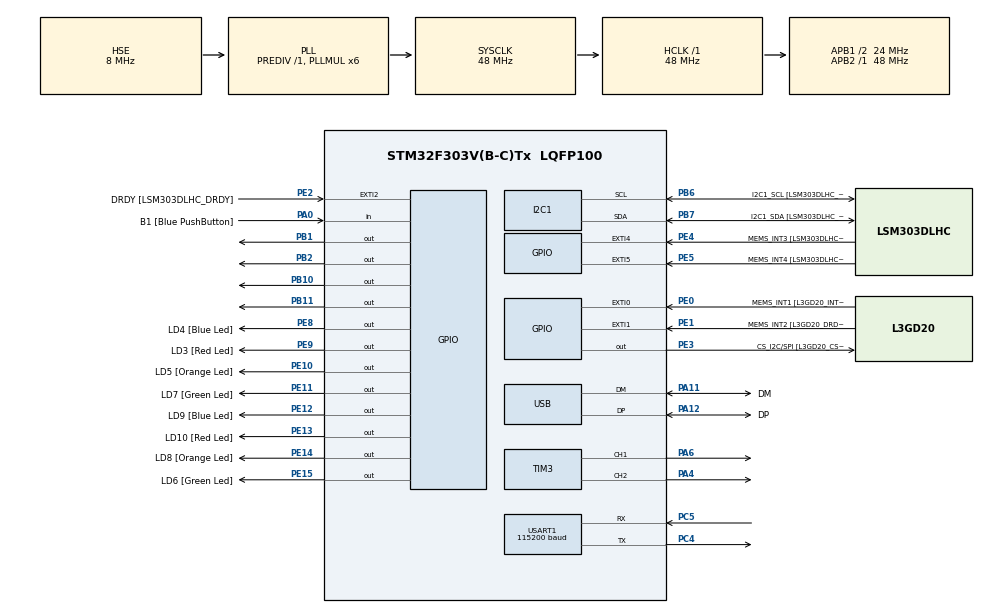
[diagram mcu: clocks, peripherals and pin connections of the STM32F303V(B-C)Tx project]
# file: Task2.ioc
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I2C1.Timing=0x2000090E
I2C1.Timing-I2C=0x2000090E
Mcu.Family=STM32F3
Mcu.Name=STM32F303V(B-C)Tx
Mcu.Package=LQFP100
NVIC.PriorityGroup=NVIC_PRIORITYGROUP_0
PA0.GPIO_Label=B1 [Blue PushButton]
PA0.Signal=GPIO_Input
PA11.GPIO_Label=DM
PA11.Mode=Device
PA11.Signal=USB_DM
PA12.GPIO_Label=DP
PA12.Mode=Device
PA12.Signal=USB_DP
PA13.GPIO_Label=SWDIO
PA13.Mode=Serial_Wire
PA13.Signal=SYS_JTMS-SWDIO
PA14.GPIO_Label=SWCLK
PA14.Mode=Serial_Wire
PA14.Signal=SYS_JTCK-SWCLK
PA4.Signal=S_TIM3_CH2
PA5.GPIO_Label=SPI1_SCK [L3GD20_SCL/SPC]
PA5.Signal=SPI1_SCK
PA6.Signal=S_TIM3_CH1
PA7.GPIO_Label=SPI1_MISO [L3GD20_SDA/SDI/SDO]
PA7.Signal=SPI1_MOSI
PB1.Signal=GPIO_Output
PB10.Signal=GPIO_Output
PB11.Signal=GPIO_Output
PB2.Signal=GPIO_Output
PB3.GPIO_Label=SWO
PB3.Signal=SYS_JTDO-TRACESWO
PB6.GPIO_Label=I2C1_SCL [LSM303DLHC_SCL]
PB6.GPIO_Pu=GPIO_PULLUP
PB6.Mode=I2C
PB6.Signal=I2C1_SCL
PB7.GPIO_Label=I2C1_SDA [LSM303DLHC_SDA]
PB7.GPIO_Pu=GPIO_PULLUP
PB7.Mode=I2C
PB7.Signal=I2C1_SDA
PC14-OSC32_IN.GPIO_Label=OSC32_IN
PC14-OSC32_IN.Signal=RCC_OSC32_IN
PC15-OSC32_OUT.GPIO_Label=OSC32_OUT
PC15-OSC32_OUT.Signal=RCC_OSC32_OUT
PC4.Mode=Asynchronous
PC4.Signal=USART1_TX
PC5.Mode=Asynchronous
PC5.Signal=USART1_RX
PE0.GPIO_Label=MEMS_INT1 [L3GD20_INT1]
PE0.GPIO_ModeDefaultEXTI=GPIO_MODE_EVT_RISING
PE0.Signal=GPXTI0
PE1.GPIO_Label=MEMS_INT2 [L3GD20_DRDY/INT2]
PE1.GPIO_ModeDefaultEXTI=GPIO_MODE_EVT_RISING
PE1.Signal=GPXTI1
PE10.GPIO_Label=LD5 [Orange Led]
PE10.Signal=GPIO_Output
PE11.GPIO_Label=LD7 [Green Led]
PE11.Signal=GPIO_Output
PE12.GPIO_Label=LD9 [Blue Led]
PE12.Signal=GPIO_Output
PE13.GPIO_Label=LD10 [Red Led]
PE13.Signal=GPIO_Output
PE14.GPIO_Label=LD8 [Orange Led]
PE14.Signal=GPIO_Output
PE15.GPIO_Label=LD6 [Green Led]
PE15.Signal=GPIO_Output
PE2.GPIO_Label=DRDY [LSM303DLHC_DRDY]
PE2.GPIO_ModeDefaultEXTI=GPIO_MODE_EVT_RISING
PE2.Signal=GPXTI2
PE3.GPIO_Label=CS_I2C/SPI [L3GD20_CS_I2C/SPI]
PE3.Signal=GPIO_Output
PE4.GPIO_Label=MEMS_INT3 [LSM303DLHC_INT1]
PE4.GPIO_ModeDefaultEXTI=GPIO_MODE_EVT_RISING
PE4.Signal=GPXTI4
PE5.GPIO_Label=MEMS_INT4 [LSM303DLHC_INT2]
PE5.GPIO_ModeDefaultEXTI=GPIO_MODE_EVT_RISING
PE5.Signal=GPXTI5
PE8.GPIO_Label=LD4 [Blue Led]
PE8.Signal=GPIO_Output
PE9.GPIO_Label=LD3 [Red Led]
PE9.Signal=GPIO_Output
PF0-OSC_IN.GPIO_Label=OSC_IN
PF0-OSC_IN.Mode=HSE-External-Clock-Source
PF0-OSC_IN.Signal=RCC_OSC_IN
PF1-OSC_OUT.GPIO_Label=OSC_OUT
PF1-OSC_OUT.Signal=RCC_OSC_OUT
ProjectManager.HeapSize=0x200
ProjectManager.StackSize=0x400
ProjectManager.TargetToolchain=CMake
RCC.AHBFreq_Value=48000000
RCC.APB1CLKDivider=RCC_HCLK_DIV2
RCC.APB1Freq_Value=24000000
RCC.APB1TimFreq_Value=48000000
RCC.APB2Freq_Value=48000000
RCC.APB2TimFreq_Value=48000000
RCC.CortexFreq_Value=48000000
RCC.HCLKFreq_Value=48000000
RCC.HSE_VALUE=8000000
RCC.HSI_VALUE=8000000
RCC.LSE_VALUE=32768
RCC.PLLMUL=RCC_PLL_MUL6
RCC.SYSCLKFreq_VALUE=48000000
RCC.SYSCLKSourceVirtual=RCC_SYSCLKSOURCE_PLLCLK
RCC.USBFreq_Value=48000000
SH.S_TIM3_CH1.0=TIM3_CH1,PWM Generation1 CH1
SH.S_TIM3_CH2.0=TIM3_CH2,PWM Generation2 CH2
TIM3.Channel-PWM\ Generation1\ CH1=TIM_CHANNEL_1
TIM3.Channel-PWM\ Generation2\ CH2=TIM_CHANNEL_2
USART1.BaudRate=115200
USART1.VirtualMode-Asynchronous=VM_ASYNC
board=STM32F3DISCOVERY

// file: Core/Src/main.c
/* USER CODE BEGIN Header */
/**
  ******************************************************************************
  * @file           : main.c
  * @brief          : Main program body
  ******************************************************************************
  * @attention
  *
  * Copyright (c) 2026 STMicroelectronics.
  * All rights reserved.
  *
  * This software is licensed under terms that can be found in the LICENSE file
  * in the root directory of this software component.
  * If no LICENSE file comes with this software, it is provided AS-IS.
  *
  ******************************************************************************
  */
/* USER CODE END Header */
#include "main.h"

/* USER CODE BEGIN PD */
#define RIGHT_MOTOR_D8_PORT   GPIOB
#define RIGHT_MOTOR_D8_PIN    GPIO_PIN_2
#define RIGHT_MOTOR_D12_PORT  GPIOB
#define RIGHT_MOTOR_D12_PIN   GPIO_PIN_1
// D10 (PA6) is TIM3_CH1 for Right Motor PWM

#define LEFT_MOTOR_D7_PORT    GPIOB
#define LEFT_MOTOR_D7_PIN     GPIO_PIN_10
#define LEFT_MOTOR_D6_PORT    GPIOB
#define LEFT_MOTOR_D6_PIN     GPIO_PIN_11
// D9 (PA4) is TIM3_CH2 for Left Motor PWM

#define MOTOR_FORWARD   0
#define MOTOR_BACKWARD  1
#define MOTOR_STOP      2

// 10kHz frequency, 0-1000 duty cycle range
#define PWM_PERIOD  999

/* USER CODE END PD */

I2C_HandleTypeDef hi2c1;

TIM_HandleTypeDef htim3;

UART_HandleTypeDef huart1;

PCD_HandleTypeDef hpcd_USB_FS;

void SystemClock_Config(void);
static void MX_GPIO_Init(void);
static void MX_I2C1_Init(void);
static void MX_TIM3_Init(void);
static void MX_USART1_UART_Init(void);
static void MX_USB_PCD_Init(void);

int main(void)
{

  /* MCU Configuration--------------------------------------------------------*/

  /* Reset of all peripherals, Initializes the Flash interface and the Systick. */
  HAL_Init();

  /* Configure the system clock */
  SystemClock_Config();

  /* Initialize all configured peripherals */
  MX_GPIO_Init();
  MX_I2C1_Init();
  MX_TIM3_Init();
  MX_USART1_UART_Init();
  MX_USB_PCD_Init();
  /* USER CODE BEGIN 2 */

  HAL_TIM_PWM_Start(&htim3, TIM_CHANNEL_1);

  HAL_TIM_PWM_Start(&htim3, TIM_CHANNEL_2);

  /* USER CODE END 2 */

  /* Infinite loop */
  while (1)
  {

    /* USER CODE BEGIN 3 */

    // Both Motors Forward
    // Right Motor Forward: D8=HIGH, D12=LOW, PWM=500
    HAL_GPIO_WritePin(GPIOB, GPIO_PIN_2, GPIO_PIN_SET);
    HAL_GPIO_WritePin(GPIOB, GPIO_PIN_1, GPIO_PIN_RESET);
    __HAL_TIM_SET_COMPARE(&htim3, TIM_CHANNEL_1, 500);

    // Left Motor Forward: D7=HIGH, D6=LOW, PWM=500
    HAL_GPIO_WritePin(GPIOB, GPIO_PIN_10, GPIO_PIN_SET);
    HAL_GPIO_WritePin(GPIOB, GPIO_PIN_11, GPIO_PIN_RESET);
    __HAL_TIM_SET_COMPARE(&htim3, TIM_CHANNEL_2, 500);

    HAL_Delay(3000);

    // Stop
    // Right Motor Stop: D8=HIGH, D12=HIGH, PWM=0
    HAL_GPIO_WritePin(GPIOB, GPIO_PIN_2, GPIO_PIN_SET);
    HAL_GPIO_WritePin(GPIOB, GPIO_PIN_1, GPIO_PIN_SET);
    __HAL_TIM_SET_COMPARE(&htim3, TIM_CHANNEL_1, 0);

    // Left Motor Stop: D7=HIGH, D6=HIGH, PWM=0
    HAL_GPIO_WritePin(GPIOB, GPIO_PIN_10, GPIO_PIN_SET);
    HAL_GPIO_WritePin(GPIOB, GPIO_PIN_11, GPIO_PIN_SET);
    __HAL_TIM_SET_COMPARE(&htim3, TIM_CHANNEL_2, 0);

    HAL_Delay(2000);

    // Both motots backward
    // Right Motor Backward: D8=LOW, D12=HIGH, PWM=500
    HAL_GPIO_WritePin(GPIOB, GPIO_PIN_2, GPIO_PIN_RESET);
    HAL_GPIO_WritePin(GPIOB, GPIO_PIN_1, GPIO_PIN_SET);
    __HAL_TIM_SET_COMPARE(&htim3, TIM_CHANNEL_1, 500);

    // Left Motor Backward: D7=LOW, D6=HIGH, PWM=500
    HAL_GPIO_WritePin(GPIOB, GPIO_PIN_10, GPIO_PIN_RESET);
    HAL_GPIO_WritePin(GPIOB, GPIO_PIN_11, GPIO_PIN_SET);
    __HAL_TIM_SET_COMPARE(&htim3, TIM_CHANNEL_2, 500);

    HAL_Delay(3000);

    // Stop
    HAL_GPIO_WritePin(GPIOB, GPIO_PIN_2, GPIO_PIN_SET);
    HAL_GPIO_WritePin(GPIOB, GPIO_PIN_1, GPIO_PIN_SET);
    __HAL_TIM_SET_COMPARE(&htim3, TIM_CHANNEL_1, 0);

    HAL_GPIO_WritePin(GPIOB, GPIO_PIN_10, GPIO_PIN_SET);
    HAL_GPIO_WritePin(GPIOB, GPIO_PIN_11, GPIO_PIN_SET);
    __HAL_TIM_SET_COMPARE(&htim3, TIM_CHANNEL_2, 0);

    HAL_Delay(2000);

    // Rotate Clockwise
    // Right Motor Backward
    HAL_GPIO_WritePin(GPIOB, GPIO_PIN_2, GPIO_PIN_RESET);
    HAL_GPIO_WritePin(GPIOB, GPIO_PIN_1, GPIO_PIN_SET);
    __HAL_TIM_SET_COMPARE(&htim3, TIM_CHANNEL_1, 500);

    // Left Motor Forward
    HAL_GPIO_WritePin(GPIOB, GPIO_PIN_10, GPIO_PIN_SET);
    HAL_GPIO_WritePin(GPIOB, GPIO_PIN_11, GPIO_PIN_RESET);
    __HAL_TIM_SET_COMPARE(&htim3, TIM_CHANNEL_2, 500);

    HAL_Delay(2000);

    // Stop
    HAL_GPIO_WritePin(GPIOB, GPIO_PIN_2, GPIO_PIN_SET);
    HAL_GPIO_WritePin(GPIOB, GPIO_PIN_1, GPIO_PIN_SET);
    __HAL_TIM_SET_COMPARE(&htim3, TIM_CHANNEL_1, 0);

    HAL_GPIO_WritePin(GPIOB, GPIO_PIN_10, GPIO_PIN_SET);
    HAL_GPIO_WritePin(GPIOB, GPIO_PIN_11, GPIO_PIN_SET);
    __HAL_TIM_SET_COMPARE(&htim3, TIM_CHANNEL_2, 0);

    HAL_Delay(2000);

    // Rotate AntiClockwise
    // Right Motor Forward
    HAL_GPIO_WritePin(GPIOB, GPIO_PIN_2, GPIO_PIN_SET);
    HAL_GPIO_WritePin(GPIOB, GPIO_PIN_1, GPIO_PIN_RESET);
    __HAL_TIM_SET_COMPARE(&htim3, TIM_CHANNEL_1, 500);

    // Left Motor Backward
    HAL_GPIO_WritePin(GPIOB, GPIO_PIN_10, GPIO_PIN_RESET);
    HAL_GPIO_WritePin(GPIOB, GPIO_PIN_11, GPIO_PIN_SET);
    __HAL_TIM_SET_COMPARE(&htim3, TIM_CHANNEL_2, 500);

    HAL_Delay(2000);

    // Stop
    HAL_GPIO_WritePin(GPIOB, GPIO_PIN_2, GPIO_PIN_SET);
    HAL_GPIO_WritePin(GPIOB, GPIO_PIN_1, GPIO_PIN_SET);
    __HAL_TIM_SET_COMPARE(&htim3, TIM_CHANNEL_1, 0);

    HAL_GPIO_WritePin(GPIOB, GPIO_PIN_10, GPIO_PIN_SET);
    HAL_GPIO_WritePin(GPIOB, GPIO_PIN_11, GPIO_PIN_SET);
    __HAL_TIM_SET_COMPARE(&htim3, TIM_CHANNEL_2, 0);

    HAL_Delay(3000);
  }
  /* USER CODE END 3 */
}

void SystemClock_Config(void)
{
  RCC_OscInitTypeDef RCC_OscInitStruct = {0};
  RCC_ClkInitTypeDef RCC_ClkInitStruct = {0};
  RCC_PeriphCLKInitTypeDef PeriphClkInit = {0};

  /** Initializes the RCC Oscillators according to the specified parameters
  * in the RCC_OscInitTypeDef structure.
  */
  RCC_OscInitStruct.OscillatorType = RCC_OSCILLATORTYPE_HSI|RCC_OSCILLATORTYPE_HSE;
  RCC_OscInitStruct.HSEState = RCC_HSE_BYPASS;
  RCC_OscInitStruct.HSEPredivValue = RCC_HSE_PREDIV_DIV1;
  RCC_OscInitStruct.HSIState = RCC_HSI_ON;
  RCC_OscInitStruct.HSICalibrationValue = RCC_HSICALIBRATION_DEFAULT;
  RCC_OscInitStruct.PLL.PLLState = RCC_PLL_ON;
  RCC_OscInitStruct.PLL.PLLSource = RCC_PLLSOURCE_HSE;
  RCC_OscInitStruct.PLL.PLLMUL = RCC_PLL_MUL6;
  if (HAL_RCC_OscConfig(&RCC_OscInitStruct) != HAL_OK)
  {
    Error_Handler();
  }

  /** Initializes the CPU, AHB and APB buses clocks
  */
  RCC_ClkInitStruct.ClockType = RCC_CLOCKTYPE_HCLK|RCC_CLOCKTYPE_SYSCLK
                              |RCC_CLOCKTYPE_PCLK1|RCC_CLOCKTYPE_PCLK2;
  RCC_ClkInitStruct.SYSCLKSource = RCC_SYSCLKSOURCE_PLLCLK;
  RCC_ClkInitStruct.AHBCLKDivider = RCC_SYSCLK_DIV1;
  RCC_ClkInitStruct.APB1CLKDivider = RCC_HCLK_DIV2;
  RCC_ClkInitStruct.APB2CLKDivider = RCC_HCLK_DIV1;

  if (HAL_RCC_ClockConfig(&RCC_ClkInitStruct, FLASH_LATENCY_1) != HAL_OK)
  {
    Error_Handler();
  }
  PeriphClkInit.PeriphClockSelection = RCC_PERIPHCLK_USB|RCC_PERIPHCLK_USART1
                              |RCC_PERIPHCLK_I2C1;
  PeriphClkInit.Usart1ClockSelection = RCC_USART1CLKSOURCE_PCLK2;
  PeriphClkInit.I2c1ClockSelection = RCC_I2C1CLKSOURCE_HSI;
  PeriphClkInit.USBClockSelection = RCC_USBCLKSOURCE_PLL;
  if (HAL_RCCEx_PeriphCLKConfig(&PeriphClkInit) != HAL_OK)
  {
    Error_Handler();
  }
}

static void MX_I2C1_Init(void)
{

  hi2c1.Instance = I2C1;
  hi2c1.Init.Timing = 0x2000090E;
  hi2c1.Init.OwnAddress1 = 0;
  hi2c1.Init.AddressingMode = I2C_ADDRESSINGMODE_7BIT;
  hi2c1.Init.DualAddressMode = I2C_DUALADDRESS_DISABLE;
  hi2c1.Init.OwnAddress2 = 0;
  hi2c1.Init.OwnAddress2Masks = I2C_OA2_NOMASK;
  hi2c1.Init.GeneralCallMode = I2C_GENERALCALL_DISABLE;
  hi2c1.Init.NoStretchMode = I2C_NOSTRETCH_DISABLE;
  if (HAL_I2C_Init(&hi2c1) != HAL_OK)
  {
    Error_Handler();
  }

  /** Configure Analogue filter
  */
  if (HAL_I2CEx_ConfigAnalogFilter(&hi2c1, I2C_ANALOGFILTER_ENABLE) != HAL_OK)
  {
    Error_Handler();
  }

  /** Configure Digital filter
  */
  if (HAL_I2CEx_ConfigDigitalFilter(&hi2c1, 0) != HAL_OK)
  {
    Error_Handler();
  }

}

static void MX_TIM3_Init(void)
{

  TIM_MasterConfigTypeDef sMasterConfig = {0};
  TIM_OC_InitTypeDef sConfigOC = {0};

  htim3.Instance = TIM3;
  htim3.Init.Prescaler = 71;  // 72MHz / 72 = 1MHz timer clock
  htim3.Init.CounterMode = TIM_COUNTERMODE_UP;
  htim3.Init.Period = PWM_PERIOD;  // 1MHz / 1000 = 10kHz PWM frequency
  htim3.Init.ClockDivision = TIM_CLOCKDIVISION_DIV1;
  htim3.Init.AutoReloadPreload = TIM_AUTORELOAD_PRELOAD_DISABLE;
  if (HAL_TIM_PWM_Init(&htim3) != HAL_OK)
  {
    Error_Handler();
  }
  sMasterConfig.MasterOutputTrigger = TIM_TRGO_RESET;
  sMasterConfig.MasterSlaveMode = TIM_MASTERSLAVEMODE_DISABLE;
  if (HAL_TIMEx_MasterConfigSynchronization(&htim3, &sMasterConfig) != HAL_OK)
  {
    Error_Handler();
  }
  sConfigOC.OCMode = TIM_OCMODE_PWM1;
  sConfigOC.Pulse = 0;
  sConfigOC.OCPolarity = TIM_OCPOLARITY_HIGH;
  sConfigOC.OCFastMode = TIM_OCFAST_DISABLE;
  if (HAL_TIM_PWM_ConfigChannel(&htim3, &sConfigOC, TIM_CHANNEL_1) != HAL_OK)
  {
    Error_Handler();
  }
  if (HAL_TIM_PWM_ConfigChannel(&htim3, &sConfigOC, TIM_CHANNEL_2) != HAL_OK)
  {
    Error_Handler();
  }
  HAL_TIM_MspPostInit(&htim3);

}

static void MX_USART1_UART_Init(void)
{

  huart1.Instance = USART1;
  huart1.Init.BaudRate = 115200;
  huart1.Init.WordLength = UART_WORDLENGTH_8B;
  huart1.Init.StopBits = UART_STOPBITS_1;
  huart1.Init.Parity = UART_PARITY_NONE;
  huart1.Init.Mode = UART_MODE_TX_RX;
  huart1.Init.HwFlowCtl = UART_HWCONTROL_NONE;
  huart1.Init.OverSampling = UART_OVERSAMPLING_16;
  huart1.Init.OneBitSampling = UART_ONE_BIT_SAMPLE_DISABLE;
  huart1.AdvancedInit.AdvFeatureInit = UART_ADVFEATURE_NO_INIT;
  if (HAL_UART_Init(&huart1) != HAL_OK)
  {
    Error_Handler();
  }

}

static void MX_USB_PCD_Init(void)
{

  hpcd_USB_FS.Instance = USB;
  hpcd_USB_FS.Init.dev_endpoints = 8;
  hpcd_USB_FS.Init.speed = PCD_SPEED_FULL;
  hpcd_USB_FS.Init.phy_itface = PCD_PHY_EMBEDDED;
  hpcd_USB_FS.Init.low_power_enable = DISABLE;
  hpcd_USB_FS.Init.battery_charging_enable = DISABLE;
  if (HAL_PCD_Init(&hpcd_USB_FS) != HAL_OK)
  {
    Error_Handler();
  }

}

static void MX_GPIO_Init(void)
{
  GPIO_InitTypeDef GPIO_InitStruct = {0};

  /* GPIO Ports Clock Enable */
  __HAL_RCC_GPIOE_CLK_ENABLE();
  __HAL_RCC_GPIOC_CLK_ENABLE();
  __HAL_RCC_GPIOF_CLK_ENABLE();
  __HAL_RCC_GPIOA_CLK_ENABLE();
  __HAL_RCC_GPIOB_CLK_ENABLE();

  /*Configure GPIO pin Output Level */
  HAL_GPIO_WritePin(GPIOE, CS_I2C_SPI_Pin|LD4_Pin|LD3_Pin|LD5_Pin
                          |LD7_Pin|LD9_Pin|LD10_Pin|LD8_Pin
                          |LD6_Pin, GPIO_PIN_RESET);

  /*Configure GPIO pin Output Level */
  HAL_GPIO_WritePin(GPIOB, GPIO_PIN_1|GPIO_PIN_2|GPIO_PIN_10|GPIO_PIN_11, GPIO_PIN_RESET);

  /*Configure GPIO pins : DRDY_Pin MEMS_INT3_Pin MEMS_INT4_Pin MEMS_INT1_Pin
                           MEMS_INT2_Pin */
  GPIO_InitStruct.Pin = DRDY_Pin|MEMS_INT3_Pin|MEMS_INT4_Pin|MEMS_INT1_Pin
                          |MEMS_INT2_Pin;
  GPIO_InitStruct.Mode = GPIO_MODE_EVT_RISING;
  GPIO_InitStruct.Pull = GPIO_NOPULL;
  HAL_GPIO_Init(GPIOE, &GPIO_InitStruct);

  /*Configure GPIO pins : CS_I2C_SPI_Pin LD4_Pin LD3_Pin LD5_Pin
                           LD7_Pin LD9_Pin LD10_Pin LD8_Pin
                           LD6_Pin */
  GPIO_InitStruct.Pin = CS_I2C_SPI_Pin|LD4_Pin|LD3_Pin|LD5_Pin
                          |LD7_Pin|LD9_Pin|LD10_Pin|LD8_Pin
                          |LD6_Pin;
  GPIO_InitStruct.Mode = GPIO_MODE_OUTPUT_PP;
  GPIO_InitStruct.Pull = GPIO_NOPULL;
  GPIO_InitStruct.Speed = GPIO_SPEED_FREQ_LOW;
  HAL_GPIO_Init(GPIOE, &GPIO_InitStruct);

  /*Configure GPIO pin : B1_Pin */
  GPIO_InitStruct.Pin = B1_Pin;
  GPIO_InitStruct.Mode = GPIO_MODE_INPUT;
  GPIO_InitStruct.Pull = GPIO_NOPULL;
  HAL_GPIO_Init(B1_GPIO_Port, &GPIO_InitStruct);

  /*Configure GPIO pins : SPI1_SCK_Pin SPI1_MISO_Pin */
  GPIO_InitStruct.Pin = SPI1_SCK_Pin|SPI1_MISO_Pin;
  GPIO_InitStruct.Mode = GPIO_MODE_AF_PP;
  GPIO_InitStruct.Pull = GPIO_NOPULL;
  GPIO_InitStruct.Speed = GPIO_SPEED_FREQ_HIGH;
  GPIO_InitStruct.Alternate = GPIO_AF5_SPI1;
  HAL_GPIO_Init(GPIOA, &GPIO_InitStruct);

  /*Configure GPIO pins : PB1 PB2 PB10 PB11 */
  GPIO_InitStruct.Pin = GPIO_PIN_1|GPIO_PIN_2|GPIO_PIN_10|GPIO_PIN_11;
  GPIO_InitStruct.Mode = GPIO_MODE_OUTPUT_PP;
  GPIO_InitStruct.Pull = GPIO_NOPULL;
  GPIO_InitStruct.Speed = GPIO_SPEED_FREQ_LOW;
  HAL_GPIO_Init(GPIOB, &GPIO_InitStruct);

}

/* USER CODE BEGIN 4 */

/**
  * @brief  Initialize motor control PWM
  * @param  None
  * @retval None
  */

/**
  * @brief  Control right motor direction and speed
  * @param  direction: MOTOR_FORWARD, MOTOR_BACKWARD, or MOTOR_STOP
  * @param  speed: PWM duty cycle (0-255), 0 = stop
  * @retval None
  *
  * Right Motor Control Logic:
  * D8=HIGH, D12=LOW, PWM=0-255: Forward
  * D8=LOW, D12=HIGH, PWM=0-255: Backward
  * D8=HIGH, D12=HIGH or D8=LOW, D12=LOW: Stop
  */
void SetRightMotor(uint8_t direction, uint8_t speed)
{
  if (speed == 0 || direction == MOTOR_STOP)
  {
    // Stop: Set both pins HIGH or both LOW
    HAL_GPIO_WritePin(RIGHT_MOTOR_D8_PORT, RIGHT_MOTOR_D8_PIN, GPIO_PIN_SET);
    HAL_GPIO_WritePin(RIGHT_MOTOR_D12_PORT, RIGHT_MOTOR_D12_PIN, GPIO_PIN_SET);
    __HAL_TIM_SET_COMPARE(&htim3, TIM_CHANNEL_1, 0);
  }
  else if (direction == MOTOR_FORWARD)
  {
    // Forward: D8=HIGH, D12=LOW
    HAL_GPIO_WritePin(RIGHT_MOTOR_D8_PORT, RIGHT_MOTOR_D8_PIN, GPIO_PIN_SET);
    HAL_GPIO_WritePin(RIGHT_MOTOR_D12_PORT, RIGHT_MOTOR_D12_PIN, GPIO_PIN_RESET);
    __HAL_TIM_SET_COMPARE(&htim3, TIM_CHANNEL_1, speed);
  }
  else if (direction == MOTOR_BACKWARD)
  {
    // Backward: D8=LOW, D12=HIGH
    HAL_GPIO_WritePin(RIGHT_MOTOR_D8_PORT, RIGHT_MOTOR_D8_PIN, GPIO_PIN_RESET);
    HAL_GPIO_WritePin(RIGHT_MOTOR_D12_PORT, RIGHT_MOTOR_D12_PIN, GPIO_PIN_SET);
    __HAL_TIM_SET_COMPARE(&htim3, TIM_CHANNEL_1, speed);
  }
}

/**
  * @brief  Control left motor direction and speed
  * @param  direction: MOTOR_FORWARD, MOTOR_BACKWARD, or MOTOR_STOP
  * @param  speed: PWM duty cycle (0-255), 0 = stop
  * @retval None
  *
  * Left Motor Control Logic:
  * D7=HIGH, D6=LOW, PWM=0-255: Forward
  * D7=LOW, D6=HIGH, PWM=0-255: Backward
  * D7=HIGH, D6=HIGH or D7=LOW, D6=LOW: Stop
  */
void SetLeftMotor(uint8_t direction, uint8_t speed)
{
  if (speed == 0 || direction == MOTOR_STOP)
  {
    // Stop: Set both pins HIGH or both LOW
    HAL_GPIO_WritePin(LEFT_MOTOR_D7_PORT, LEFT_MOTOR_D7_PIN, GPIO_PIN_SET);
    HAL_GPIO_WritePin(LEFT_MOTOR_D6_PORT, LEFT_MOTOR_D6_PIN, GPIO_PIN_SET);
    __HAL_TIM_SET_COMPARE(&htim3, TIM_CHANNEL_2, 0);
  }
  else if (direction == MOTOR_FORWARD)
  {
    // Forward: D7=HIGH, D6=LOW
    HAL_GPIO_WritePin(LEFT_MOTOR_D7_PORT, LEFT_MOTOR_D7_PIN, GPIO_PIN_SET);
    HAL_GPIO_WritePin(LEFT_MOTOR_D6_PORT, LEFT_MOTOR_D6_PIN, GPIO_PIN_RESET);
    __HAL_TIM_SET_COMPARE(&htim3, TIM_CHANNEL_2, speed);
  }
  else if (direction == MOTOR_BACKWARD)
  {
    // Backward: D7=LOW, D6=HIGH
    HAL_GPIO_WritePin(LEFT_MOTOR_D7_PORT, LEFT_MOTOR_D7_PIN, GPIO_PIN_RESET);
    HAL_GPIO_WritePin(LEFT_MOTOR_D6_PORT, LEFT_MOTOR_D6_PIN, GPIO_PIN_SET);
    __HAL_TIM_SET_COMPARE(&htim3, TIM_CHANNEL_2, speed);
  }
}

/**
  * @brief  Control both motors with same direction and speed
  * @param  direction: MOTOR_FORWARD, MOTOR_BACKWARD, or MOTOR_STOP
  * @param  speed: PWM duty cycle (0-25
  */
void SetBothMotors(uint8_t direction, uint8_t speed)
{
  SetRightMotor(direction, speed);
  SetLeftMotor(direction, speed);
}

/**
  * @brief  Stop all motors
  * @param  None
  * @retval None
  */
void StopAllMotors(void)
{
  SetRightMotor(MOTOR_STOP, 0);
  SetLeftMotor(MOTOR_STOP, 0);
}

/**
  * @brief  Rotate robot clockwise (right motor backward, left motor forward)
  * @param  speed: PWM duty cycle (0-255)
  * @retval None
  * @note   Robot rotates in place clockwise when viewed from above
  */
void RotateClockwise(uint8_t speed)
{
  SetRightMotor(MOTOR_BACKWARD, speed);  // Right motor backward
  SetLeftMotor(MOTOR_FORWARD, speed);    // Left motor forward
}

/**
  * @brief  Rotate robot anticlockwise (right motor forward, left motor backward)
  * @param  speed: PWM duty cycle (0-255)
  * @retval None
  * @note   Robot rotates in place anticlockwise when viewed from above
  */
void RotateAntiClockwise(uint8_t speed)
{
  SetRightMotor(MOTOR_FORWARD, speed);   // Right motor forward
  SetLeftMotor(MOTOR_BACKWARD, speed);   // Left motor backward
}

/* USER CODE END 4 */

void Error_Handler(void)
{
  __disable_irq();
  while (1)
  {
  }
}
